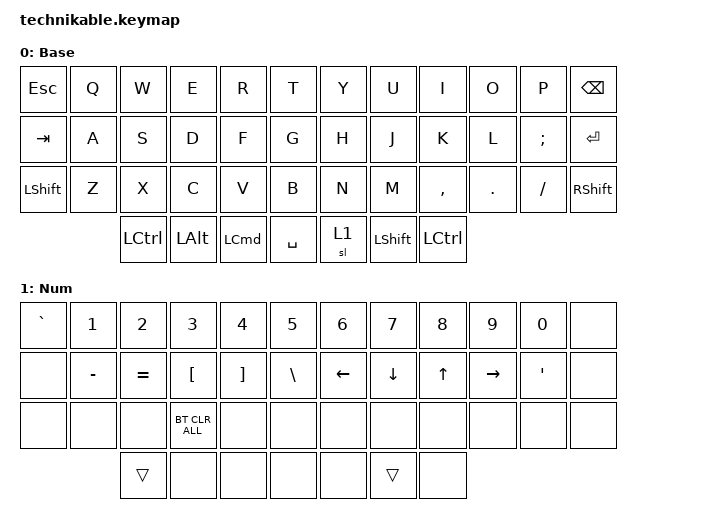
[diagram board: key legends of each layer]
/*
 * Copyright (c) 2022 Pete Johanson
 *
 * SPDX-License-Identifier: MIT
 */

#include <behaviors.dtsi>
#include <dt-bindings/zmk/bt.h>
#include <dt-bindings/zmk/keys.h>

#define BAS_L 0
#define NAV_L 1
#define NUM_L 2
#define SYM_L 3

// Using layer taps on thumbs, having quick tap as well helps w/ repeating space/backspace

&lt { quick_tap_ms = <200>; };

/ {
    chosen { zmk,matrix_transform = &mit_transform; };

    conditional_layers { compatible = "zmk,conditional-layers"; };

    keymap {
        compatible = "zmk,keymap";

        base_layer {
            label = "Base";
            bindings = <
&kp ESC    &kp Q  &kp W      &kp E     &kp R     &kp T        &kp Y  &kp U      &kp I      &kp O    &kp P     &kp BACKSPACE
&kp TAB    &kp A  &kp S      &kp D     &kp F     &kp G        &kp H  &kp J      &kp K      &kp L    &kp SEMI  &kp RET
&kp LSHFT  &kp Z  &kp X      &kp C     &kp V     &kp B        &kp N  &kp M      &kp COMMA  &kp DOT  &kp FSLH  &kp RSHFT
                  &kp LCTRL  &kp LALT  &kp LCMD  &kp SPACE    &sl 1  &kp LSHFT  &kp LCTRL
            >;
        };

        num_layer {
            label = "Num";
            bindings = <
&kp GRAVE  &kp N1     &kp N2     &kp N3          &kp N4    &kp N5      &kp N6    &kp N7    &kp N8  &kp N9     &kp N0    &none
&none      &kp MINUS  &kp EQUAL  &kp LBKT        &kp RBKT  &kp BSLH    &kp LEFT  &kp DOWN  &kp UP  &kp RIGHT  &kp APOS  &none
&none      &none      &none      &bt BT_CLR_ALL  &none     &none       &none     &none     &none   &none      &none     &none
                      &trans     &none           &none     &none       &none     &trans    &none
            >;
        };
    };
};
